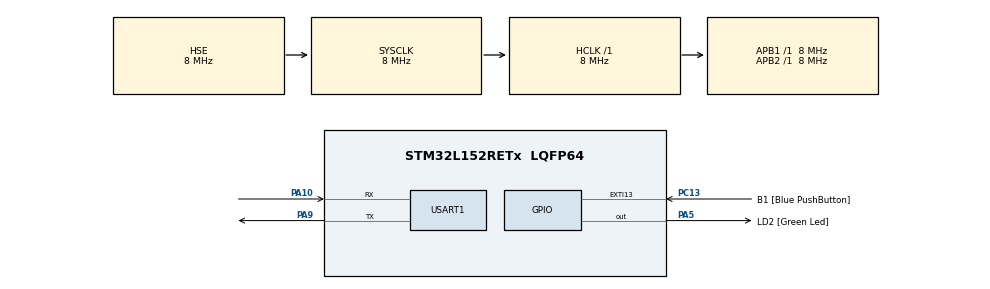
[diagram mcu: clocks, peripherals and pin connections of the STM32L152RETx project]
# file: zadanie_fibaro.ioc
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Mcu.Family=STM32L1
RCC.MSI_VALUE=2097000
RCC.PLLSourceVirtual=RCC_PLLSOURCE_HSE
PC15-OSC32_OUT.Mode=LSE-External-Oscillator
PH0-OSC_IN.Signal=RCC_OSC_IN
PA10.Mode=Asynchronous
PA14.GPIO_Label=TCK
PC14-OSC32_IN.Signal=RCC_OSC32_IN
RCC.SYSCLKSource=RCC_SYSCLKSOURCE_HSE
ProjectManager.StackSize=0x400
PA13.Signal=SYS_JTMS-SWDIO
PA9.Mode=Asynchronous
RCC.PLLDIV=RCC_PLL_DIV3
ProjectManager.TargetToolchain=STM32CubeIDE
RCC.HCLKFreq_Value=8000000
PC13-WKUP2.GPIO_Label=B1 [Blue PushButton]
RCC.APB2TimFreq_Value=8000000
PA9.Signal=USART1_TX
PC15-OSC32_OUT.Signal=RCC_OSC32_OUT
RCC.AHBFreq_Value=8000000
PH0-OSC_IN.Mode=HSE-External-Oscillator
PA5.Signal=GPIO_Output
RCC.HSE_VALUE=8000000
PC13-WKUP2.Signal=GPXTI13
board=NUCLEO-L152RE
RCC.VCOOutputFreq_Value=48000000
RCC.PLLMUL=RCC_PLL_MUL6
RCC.APB2Freq_Value=8000000
PC14-OSC32_IN.Mode=LSE-External-Oscillator
RCC.RTCClockSelectionVirtual=RCC_RTCCLKSOURCE_LSE
PA14.Mode=Serial_Wire
PH1-OSC_OUT.Signal=RCC_OSC_OUT
PA13.Mode=Serial_Wire
Mcu.Name=STM32L152RETx
PA2.Signal=USART2_TX
PA13.GPIO_Label=TMS
PH1-OSC_OUT.Mode=HSE-External-Oscillator
RCC.48MHZClocksFreq_Value=24000000
PB3.Signal=SYS_JTDO-TRACESWO
RCC.SYSCLKFreq_VALUE=8000000
Mcu.Package=LQFP64
USART1.OverSampling=UART_OVERSAMPLING_8
PA5.GPIO_Label=LD2 [Green Led]
RCC.USBOutput=48000000
USART1.VirtualMode=VM_ASYNC
PA2.GPIO_Label=USART_TX
PA10.Signal=USART1_RX
PA14.Signal=SYS_JTCK-SWCLK
ProjectManager.HeapSize=0x200
RCC.HSI_VALUE=16000000
NVIC.PriorityGroup=NVIC_PRIORITYGROUP_0
RCC.APB1TimFreq_Value=8000000
NVIC.USART1_IRQn=true\:0\:0\:false\:false\:true\:true\:true
RCC.APB1Freq_Value=8000000
PA3.GPIO_Label=USART_RX
PA3.Signal=USART2_RX
PB3.GPIO_Label=SWO

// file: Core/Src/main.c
/* USER CODE BEGIN Header */
/**
  ******************************************************************************
  * @file           : main.c
  * @brief          : Main program body
  ******************************************************************************
  * @attention
  *
  * <h2><center>&copy; Copyright (c) 2021 STMicroelectronics.
  * All rights reserved.</center></h2>
  *
  * This software component is licensed by ST under BSD 3-Clause license,
  * the "License"; You may not use this file except in compliance with the
  * License. You may obtain a copy of the License at:
  *                        opensource.org/licenses/BSD-3-Clause
  *
  ******************************************************************************
  */
/* USER CODE END Header */
#include "main.h"

/* USER CODE BEGIN Includes */
#include "uart.h"
#include "fib-lib.h"
/* USER CODE END Includes */

UART_HandleTypeDef huart1;

/* USER CODE BEGIN PV */
uint8_t rxBuffor;
uint8_t buttPushCounter;	///< Zmienna zliczająca liczbę przyciśnięć przycisku

/* USER CODE END PV */

void SystemClock_Config(void);
static void MX_GPIO_Init(void);
static void MX_USART1_UART_Init(void);

/* USER CODE BEGIN 0 */
void HAL_UART_RxCpltCallback(UART_HandleTypeDef *huart)
{
	if(huart->Instance == USART1)	// Sprawdz, czy przerwanie jest z uart1
	{
		UART.fNewByte = 1;	// Ustaw flagę nowego bajtu
		UART.newByte = rxBuffor;	// Zapisz nowy bajt
		HAL_UART_Receive_IT(&huart1, &rxBuffor, 1);
	}
}

//void HAL_UART_TxCpltCallback(UART_HandleTypeDef *huart)
//{
//	if(huart->Instance == USART1)	// Upewnij się, że o ciebie chodzi
//	{
////		LED_ON();
//////		TIME.button_debounce = 50;
//////		while(TIME.button_debounce > 0);
////		LED_OFF();
//	}
//}

/* USER CODE END 0 */

int main(void)
{

  /* MCU Configuration--------------------------------------------------------*/

  /* Reset of all peripherals, Initializes the Flash interface and the Systick. */
  HAL_Init();

  /* Configure the system clock */
  SystemClock_Config();

  /* Initialize all configured peripherals */
  MX_GPIO_Init();
  MX_USART1_UART_Init();
  /* USER CODE BEGIN 2 */
  HAL_UART_Receive_IT(&huart1, &rxBuffor, 1);

  TIME.mod_100ms = MOD_100ms; // Uruchom timer 100ms
  /* USER CODE END 2 */

  /* Infinite loop */
  /* USER CODE BEGIN WHILE */
//  uFrameSend(5, &huart1);
  while (1)
  {

	  if(receiveFrame(&huart1) == nm_newMessage)
	  {

	  }

	  if(BTN1_PUSHED())	// Jeśli przycisk jest wciśnięty
	  {
		  if(FLAG.button_pushed == 0)	// jeśli wcześniej nie był wciśnięty
		  {
			  FLAG.button_pushed = 1;	// To ustaw flagę wciśnięcia przycisku
			  TIME.button_debounce = BTN_DEBOUNCE; // I czas na stabilizację stanu przycisku
		  }
		  else if(FLAG.button_pushed && TIME.button_debounce == 0) // Jeśłi przycisk jest wciśnięty i minął czas debounce
		  {
//			  LED_ON();
		  }
	  }
	  else // Jak przycisk jest puszczony
	  {
		  if(FLAG.button_pushed == 1)	// Jeśłi wcześniej był wciśniety
		  {
			  FLAG.button_pushed = 0;	// Wyzeruj flagę przycisku
			  TIME.button_debounce = BTN_DEBOUNCE;
		  }
		  else if(TIME.button_debounce == 1)	// 1 żeby wszedł tu tylko raz
		  {
			  TIME.button_debounce = 0;
			  TIME.buttTimeout = BUTT_TIME; // Ustaw timeout oczekiwania na nowe kliknięcie [1s]
			  buttPushCounter++;
			  if(buttPushCounter == 30)	// 30 to max kliknięć
			  {
				  TIME.buttTimeout = 0;
				  FLAG.butTimeout = 1;
			  }
		  }
	  }
	  if(FLAG.butTimeout)	// Jak minął czas kilkania
	  {
		  FLAG.butTimeout = 0;	// Wyzzeruj flagę, zęby się nie powtarzało
		  uFrameSend(buttPushCounter, &huart1); // Wyślij ramkę
		  buttPushCounter = 0;	// Wyzeruj liczbę kliknięć
	  }

    /* USER CODE END WHILE */

  }
}

void SystemClock_Config(void)
{
  RCC_OscInitTypeDef RCC_OscInitStruct = {0};
  RCC_ClkInitTypeDef RCC_ClkInitStruct = {0};

  /** Configure the main internal regulator output voltage
  */
  __HAL_PWR_VOLTAGESCALING_CONFIG(PWR_REGULATOR_VOLTAGE_SCALE1);
  /** Initializes the RCC Oscillators according to the specified parameters
  * in the RCC_OscInitTypeDef structure.
  */
  RCC_OscInitStruct.OscillatorType = RCC_OSCILLATORTYPE_HSE;
  RCC_OscInitStruct.HSEState = RCC_HSE_ON;
  RCC_OscInitStruct.PLL.PLLState = RCC_PLL_NONE;
  if (HAL_RCC_OscConfig(&RCC_OscInitStruct) != HAL_OK)
  {
    Error_Handler();
  }
  /** Initializes the CPU, AHB and APB buses clocks
  */
  RCC_ClkInitStruct.ClockType = RCC_CLOCKTYPE_HCLK|RCC_CLOCKTYPE_SYSCLK
                              |RCC_CLOCKTYPE_PCLK1|RCC_CLOCKTYPE_PCLK2;
  RCC_ClkInitStruct.SYSCLKSource = RCC_SYSCLKSOURCE_HSE;
  RCC_ClkInitStruct.AHBCLKDivider = RCC_SYSCLK_DIV1;
  RCC_ClkInitStruct.APB1CLKDivider = RCC_HCLK_DIV1;
  RCC_ClkInitStruct.APB2CLKDivider = RCC_HCLK_DIV1;

  if (HAL_RCC_ClockConfig(&RCC_ClkInitStruct, FLASH_LATENCY_0) != HAL_OK)
  {
    Error_Handler();
  }
}

static void MX_USART1_UART_Init(void)
{

  huart1.Instance = USART1;
  huart1.Init.BaudRate = 115200;
  huart1.Init.WordLength = UART_WORDLENGTH_8B;
  huart1.Init.StopBits = UART_STOPBITS_1;
  huart1.Init.Parity = UART_PARITY_NONE;
  huart1.Init.Mode = UART_MODE_TX_RX;
  huart1.Init.HwFlowCtl = UART_HWCONTROL_NONE;
  huart1.Init.OverSampling = UART_OVERSAMPLING_8;
  if (HAL_UART_Init(&huart1) != HAL_OK)
  {
    Error_Handler();
  }

}

static void MX_GPIO_Init(void)
{
  GPIO_InitTypeDef GPIO_InitStruct = {0};

  /* GPIO Ports Clock Enable */
  __HAL_RCC_GPIOC_CLK_ENABLE();
  __HAL_RCC_GPIOH_CLK_ENABLE();
  __HAL_RCC_GPIOA_CLK_ENABLE();
  __HAL_RCC_GPIOB_CLK_ENABLE();

  /*Configure GPIO pin Output Level */
  HAL_GPIO_WritePin(LD2_GPIO_Port, LD2_Pin, GPIO_PIN_RESET);

  /*Configure GPIO pin : B1_Pin */
  GPIO_InitStruct.Pin = B1_Pin;
  GPIO_InitStruct.Mode = GPIO_MODE_IT_RISING;
  GPIO_InitStruct.Pull = GPIO_NOPULL;
  HAL_GPIO_Init(B1_GPIO_Port, &GPIO_InitStruct);

  /*Configure GPIO pins : USART_TX_Pin USART_RX_Pin */
  GPIO_InitStruct.Pin = USART_TX_Pin|USART_RX_Pin;
  GPIO_InitStruct.Mode = GPIO_MODE_AF_PP;
  GPIO_InitStruct.Pull = GPIO_NOPULL;
  GPIO_InitStruct.Speed = GPIO_SPEED_FREQ_VERY_HIGH;
  GPIO_InitStruct.Alternate = GPIO_AF7_USART2;
  HAL_GPIO_Init(GPIOA, &GPIO_InitStruct);

  /*Configure GPIO pin : LD2_Pin */
  GPIO_InitStruct.Pin = LD2_Pin;
  GPIO_InitStruct.Mode = GPIO_MODE_OUTPUT_PP;
  GPIO_InitStruct.Pull = GPIO_NOPULL;
  GPIO_InitStruct.Speed = GPIO_SPEED_FREQ_LOW;
  HAL_GPIO_Init(LD2_GPIO_Port, &GPIO_InitStruct);

}

void Error_Handler(void)
{
  __disable_irq();
  while (1)
  {
  }
}

/************************ (C) COPYRIGHT STMicroelectronics *****END OF FILE****/
